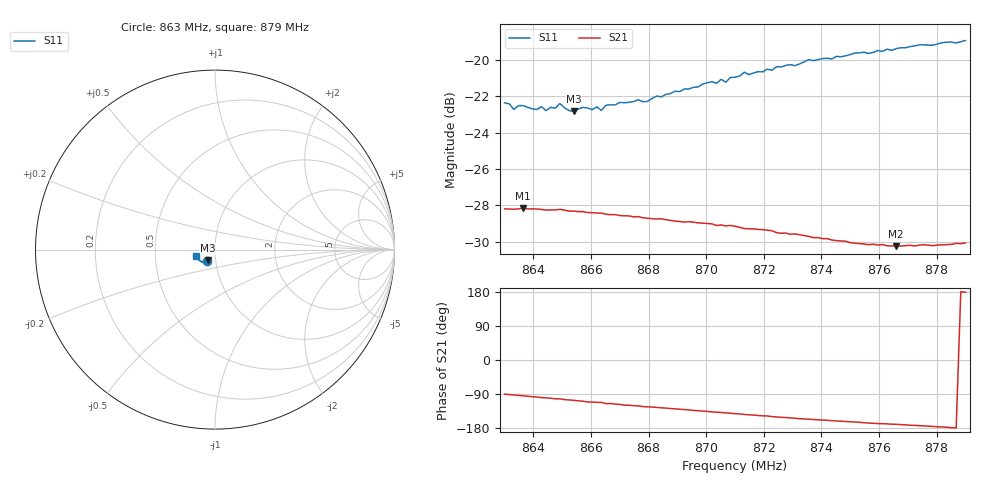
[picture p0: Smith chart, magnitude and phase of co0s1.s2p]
# HZ S RI R 50
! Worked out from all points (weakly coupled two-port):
!   101 points, 863 MHz to 879 MHz, reference 50 ohm
!   highest |S21| = -28.14 dB at 863.64 MHz (marker M1); lowest = -30.2 dB at 876.6 MHz (marker M2)
!   lowest |S11| = -22.8 dB at 865.4 MHz (marker M3), VSWR 1.16, Z = 45.8 - j5.53 ohm
!   |S11| at or under -10 dB: start of sweep to end of sweep
!   S12 and S22 are empty: the file has one direction only
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8.63e8  -0.046 -0.0608  -5.3e-05 -0.039  0 0  0 0
8.6332e8  -0.0412 -0.0603  -0.00149 -0.0388  0 0  0 0
8.6364e8  -0.0432 -0.0612  -0.00304 -0.039  0 0  0 0
8.6412e8  -0.0419 -0.0599  -0.00519 -0.0386  0 0  0 0
8.6428e8  -0.0411 -0.062  -0.00623 -0.0383  0 0  0 0
8.6444e8  -0.0405 -0.0602  -0.00668 -0.0381  0 0  0 0
8.6492e8  -0.0444 -0.0616  -0.00842 -0.0379  0 0  0 0
8.654e8  -0.0401 -0.06  -0.0108 -0.0368  0 0  0 0
8.6572e8  -0.0404 -0.0621  -0.0122 -0.0363  0 0  0 0
8.6604e8  -0.0384 -0.0621  -0.0135 -0.0355  0 0  0 0
8.662e8  -0.04 -0.0626  -0.0142 -0.0352  0 0  0 0
8.6636e8  -0.0397 -0.0609  -0.014 -0.0352  0 0  0 0
8.6652e8  -0.0393 -0.064  -0.0161 -0.0341  0 0  0 0
8.6844e8  -0.0423 -0.0669  -0.0216 -0.0295  0 0  0 0
8.7068e8  -0.0512 -0.0702  -0.0265 -0.0227  0 0  0 0
8.71e8  -0.0544 -0.0712  -0.0274 -0.0217  0 0  0 0
8.7132e8  -0.0576 -0.0724  -0.0277 -0.0204  0 0  0 0
8.7148e8  -0.0571 -0.0711  -0.028 -0.0199  0 0  0 0
8.7372e8  -0.0717 -0.0691  -0.0299 -0.0127  0 0  0 0
8.7644e8  -0.0904 -0.0557  -0.0303 -0.00563  0 0  0 0
8.766e8  -0.0923 -0.055  -0.0303 -0.00552  0 0  0 0
8.79e8  -0.1071 -0.0365  -0.0314 0.000579  0 0  0 0
